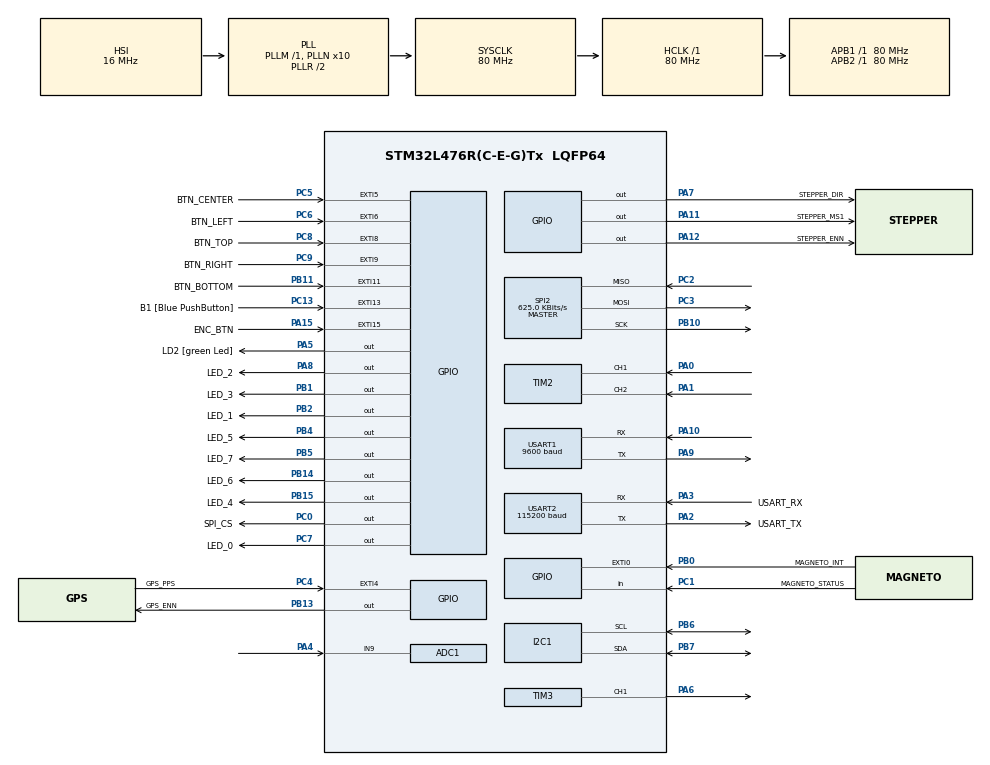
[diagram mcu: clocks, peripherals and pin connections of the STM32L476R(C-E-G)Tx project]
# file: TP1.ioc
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ADC1.Channel-2\#ChannelRegularConversion=ADC_CHANNEL_9
ADC1.ContinuousConvMode=DISABLE
ADC1.ExternalTrigConv=ADC_EXTERNALTRIG_T4_TRGO
ADC1.NbrOfConversionFlag=1
ADC1.OffsetNumber-2\#ChannelRegularConversion=ADC_OFFSET_NONE
ADC1.Rank-2\#ChannelRegularConversion=1
ADC1.SamplingTime-2\#ChannelRegularConversion=ADC_SAMPLETIME_2CYCLES_5
ADC1.master=1
I2C1.Timing=0x10909CEC
Mcu.Family=STM32L4
Mcu.Name=STM32L476R(C-E-G)Tx
Mcu.Package=LQFP64
NVIC.ADC1_2_IRQn=true\:0\:0\:false\:false\:true\:true\:true\:true
NVIC.EXTI15_10_IRQn=true\:0\:0\:false\:false\:true\:true\:true\:true
NVIC.PriorityGroup=NVIC_PRIORITYGROUP_4
NVIC.TIM4_IRQn=true\:0\:0\:false\:false\:true\:true\:true\:true
NVIC.TIM6_DAC_IRQn=true\:15\:0\:false\:false\:true\:false\:true\:true
NVIC.TimeBase=TIM6_DAC_IRQn
NVIC.TimeBaseIP=TIM6
PA0.Signal=S_TIM2_CH1
PA1.Signal=S_TIM2_CH2
PA10.Mode=Asynchronous
PA10.Signal=USART1_RX
PA11.GPIO_Label=STEPPER_MS1
PA11.Signal=GPIO_Output
PA12.GPIO_Label=STEPPER_ENN
PA12.PinState=GPIO_PIN_SET
PA12.Signal=GPIO_Output
PA13\ (JTMS-SWDIO).GPIO_Label=TMS
PA13\ (JTMS-SWDIO).Mode=Trace_Asynchronous_SW
PA13\ (JTMS-SWDIO).Signal=SYS_JTMS-SWDIO
PA14\ (JTCK-SWCLK).GPIO_Label=TCK
PA14\ (JTCK-SWCLK).Mode=Trace_Asynchronous_SW
PA14\ (JTCK-SWCLK).Signal=SYS_JTCK-SWCLK
PA15\ (JTDI).GPIO_Label=ENC_BTN
PA15\ (JTDI).Signal=GPXTI15
PA2.GPIO_Label=USART_TX
PA2.GPIO_Mode=GPIO_MODE_AF_PP
PA2.GPIO_PuPd=GPIO_NOPULL
PA2.GPIO_Speed=GPIO_SPEED_FREQ_VERY_HIGH
PA2.Mode=Asynchronous
PA2.Signal=USART2_TX
PA3.GPIO_Label=USART_RX
PA3.GPIO_Mode=GPIO_MODE_AF_PP
PA3.GPIO_PuPd=GPIO_NOPULL
PA3.GPIO_Speed=GPIO_SPEED_FREQ_VERY_HIGH
PA3.Mode=Asynchronous
PA3.Signal=USART2_RX
PA4.Signal=ADCx_IN9
PA5.GPIO_Label=LD2 [green Led]
PA5.GPIO_ModeDefaultOutputPP=GPIO_MODE_OUTPUT_PP
PA5.GPIO_PuPd=GPIO_NOPULL
PA5.GPIO_Speed=GPIO_SPEED_FREQ_LOW
PA5.Signal=GPIO_Output
PA6.Signal=S_TIM3_CH1
PA7.GPIO_Label=STEPPER_DIR
PA7.Signal=GPIO_Output
PA8.GPIO_Label=LED_2
PA8.Signal=GPIO_Output
PA9.Mode=Asynchronous
PA9.Signal=USART1_TX
PB0.GPIO_Label=MAGNETO_INT
PB0.Signal=GPXTI0
PB1.GPIO_Label=LED_3
PB1.Signal=GPIO_Output
PB10.Mode=Full_Duplex_Master
PB10.Signal=SPI2_SCK
PB11.GPIO_Label=BTN_BOTTOM
PB11.Signal=GPXTI11
PB13.GPIO_Label=GPS_ENN
PB13.Signal=GPIO_Output
PB14.GPIO_Label=LED_6
PB14.Signal=GPIO_Output
PB15.GPIO_Label=LED_4
PB15.Signal=GPIO_Output
PB2.GPIO_Label=LED_1
PB2.Signal=GPIO_Output
PB3\ (JTDO-TRACESWO).Mode=Trace_Asynchronous_SW
PB3\ (JTDO-TRACESWO).Signal=SYS_JTDO-SWO
PB4\ (NJTRST).GPIO_Label=LED_5
PB4\ (NJTRST).Signal=GPIO_Output
PB5.GPIO_Label=LED_7
PB5.Signal=GPIO_Output
PB6.Mode=I2C
PB6.Signal=I2C1_SCL
PB7.Mode=I2C
PB7.Signal=I2C1_SDA
PC0.GPIO_Label=SPI_CS
PC0.PinState=GPIO_PIN_SET
PC0.Signal=GPIO_Output
PC1.GPIO_Label=MAGNETO_STATUS
PC1.Signal=GPIO_Input
PC13.GPIO_Label=B1 [Blue PushButton]
PC13.GPIO_ModeDefaultEXTI=GPIO_MODE_IT_FALLING
PC13.GPIO_PuPd=GPIO_NOPULL
PC13.Signal=GPXTI13
PC14-OSC32_IN\ (PC14).Mode=LSE-External-Oscillator
PC14-OSC32_IN\ (PC14).Signal=RCC_OSC32_IN
PC15-OSC32_OUT\ (PC15).Mode=LSE-External-Oscillator
PC15-OSC32_OUT\ (PC15).Signal=RCC_OSC32_OUT
PC2.Mode=Full_Duplex_Master
PC2.Signal=SPI2_MISO
PC3.Mode=Full_Duplex_Master
PC3.Signal=SPI2_MOSI
PC4.GPIO_Label=GPS_PPS
PC4.Signal=GPXTI4
PC5.GPIO_Label=BTN_CENTER
PC5.Signal=GPXTI5
PC6.GPIO_Label=BTN_LEFT
PC6.Signal=GPXTI6
PC7.GPIO_Label=LED_0
PC7.Signal=GPIO_Output
PC8.GPIO_Label=BTN_TOP
PC8.Signal=GPXTI8
PC9.GPIO_Label=BTN_RIGHT
PC9.Signal=GPXTI9
PH0-OSC_IN\ (PH0).Mode=HSE-External-Oscillator
PH0-OSC_IN\ (PH0).Signal=RCC_OSC_IN
PH1-OSC_OUT\ (PH1).Mode=HSE-External-Oscillator
PH1-OSC_OUT\ (PH1).Signal=RCC_OSC_OUT
ProjectManager.HeapSize=0x200
ProjectManager.StackSize=0x400
ProjectManager.TargetToolchain=STM32CubeIDE
RCC.ADCFreq_Value=64000000
RCC.AHBFreq_Value=80000000
RCC.APB1Freq_Value=80000000
RCC.APB1TimFreq_Value=80000000
RCC.APB2Freq_Value=80000000
RCC.APB2TimFreq_Value=80000000
RCC.CortexFreq_Value=80000000
RCC.HCLKFreq_Value=80000000
RCC.HSE_VALUE=8000000
RCC.HSI_VALUE=16000000
RCC.MSI_VALUE=4000000
RCC.PLLN=10
RCC.PLLSourceVirtual=RCC_PLLSOURCE_HSI
RCC.PREFETCH_ENABLE=1
RCC.SYSCLKFreq_VALUE=80000000
RCC.SYSCLKSource=RCC_SYSCLKSOURCE_PLLCLK
RCC.USBFreq_Value=64000000
RCC.VCOOutputFreq_Value=160000000
SH.ADCx_IN9.0=ADC1_IN9,IN9-Single-Ended
SH.S_TIM2_CH1.0=TIM2_CH1,Encoder_Interface
SH.S_TIM2_CH2.0=TIM2_CH2,Encoder_Interface
SH.S_TIM3_CH1.0=TIM3_CH1,PWM Generation1 CH1
SPI2.BaudRatePrescaler=SPI_BAUDRATEPRESCALER_128
SPI2.CalculateBaudRate=625.0 KBits/s
SPI2.DataSize=SPI_DATASIZE_8BIT
SPI2.Direction=SPI_DIRECTION_2LINES
SPI2.Mode=SPI_MODE_MASTER
SPI2.NSSPMode=SPI_NSS_PULSE_DISABLE
SPI2.VirtualType=VM_MASTER
TIM3.Channel-PWM\ Generation1\ CH1=TIM_CHANNEL_1
TIM4.Period=9999
TIM4.Prescaler=79
TIM4.TIM_MasterOutputTrigger=TIM_TRGO_UPDATE
USART1.BaudRate=9600
USART1.VirtualMode-Asynchronous=VM_ASYNC
USART2.BaudRate=115200
USART2.VirtualMode-Asynchronous=VM_ASYNC
VP_SYS_VS_tim6.Mode=TIM6
VP_TIM3_VS_ClockSourceINT.Mode=Internal
VP_TIM4_VS_ClockSourceINT.Mode=Internal
board=NUCLEO-L476RG

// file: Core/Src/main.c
/* USER CODE BEGIN Header */
/**
  ******************************************************************************
  * @file           : main.c
  * @brief          : Main program body
  ******************************************************************************
  * @attention
  *
  * Copyright (c) 2024 STMicroelectronics.
  * All rights reserved.
  *
  * This software is licensed under terms that can be found in the LICENSE file
  * in the root directory of this software component.
  * If no LICENSE file comes with this software, it is provided AS-IS.
  *
  ******************************************************************************
  */
/* USER CODE END Header */
#include "main.h"
#include "adc.h"
#include "i2c.h"
#include "spi.h"
#include "tim.h"
#include "usart.h"
#include "gpio.h"
#include <stdio.h>

/* USER CODE BEGIN Includes */
#include "ssd1315.h"
#include "fonts.h"
#include "utils.h"
#include "fonction_67.h"

/* USER CODE END Includes */

void SystemClock_Config(void);

/* USER CODE BEGIN 0 */
int __io_putchar(int ch)

{

HAL_UART_Transmit(&huart2, (uint8_t *)&ch, 1, HAL_MAX_DELAY);

return ch;

}

int __io_getchar(void)

{

uint8_t ch = 0;

__HAL_UART_CLEAR_OREFLAG(&huart2);

HAL_UART_Receive(&huart2, (uint8_t *)&ch, 1, HAL_MAX_DELAY);

HAL_UART_Transmit(&huart2, (uint8_t *)&ch, 1, HAL_MAX_DELAY);

return ch;

}
/* USER CODE END 0 */

int main(void)
{

  /* MCU Configuration--------------------------------------------------------*/

  /* Reset of all peripherals, Initializes the Flash interface and the Systick. */
  HAL_Init();

  /* Configure the system clock */
  SystemClock_Config();

  /* Initialize all configured peripherals */
  MX_GPIO_Init();
  MX_USART2_UART_Init();
  MX_I2C1_Init();
  MX_SPI2_Init();
  MX_TIM2_Init();
  MX_TIM3_Init();
  MX_USART1_UART_Init();
  MX_ADC1_Init();
  MX_TIM4_Init();

  /* Infinite loop */
  /* USER CODE BEGIN WHILE */
  ssd1315_Init();
  ssd1315_Clear(SSD1315_COLOR_BLACK);
  char buffer[16]={0};
  snprintf(buffer,16,"karimleroi");

  ssd1315_Draw_String(0,0,buffer,&Font_11x18);
  ssd1315_Refresh();

  setup();
  //setup1();
  while (1)
  {
	  //loop();
	  //loop1();
    /* USER CODE END WHILE */

  }
}

void SystemClock_Config(void)
{
  RCC_OscInitTypeDef RCC_OscInitStruct = {0};
  RCC_ClkInitTypeDef RCC_ClkInitStruct = {0};

  /** Configure the main internal regulator output voltage
  */
  if (HAL_PWREx_ControlVoltageScaling(PWR_REGULATOR_VOLTAGE_SCALE1) != HAL_OK)
  {
    Error_Handler();
  }

  /** Initializes the RCC Oscillators according to the specified parameters
  * in the RCC_OscInitTypeDef structure.
  */
  RCC_OscInitStruct.OscillatorType = RCC_OSCILLATORTYPE_HSI;
  RCC_OscInitStruct.HSIState = RCC_HSI_ON;
  RCC_OscInitStruct.HSICalibrationValue = RCC_HSICALIBRATION_DEFAULT;
  RCC_OscInitStruct.PLL.PLLState = RCC_PLL_ON;
  RCC_OscInitStruct.PLL.PLLSource = RCC_PLLSOURCE_HSI;
  RCC_OscInitStruct.PLL.PLLM = 1;
  RCC_OscInitStruct.PLL.PLLN = 10;
  RCC_OscInitStruct.PLL.PLLP = RCC_PLLP_DIV7;
  RCC_OscInitStruct.PLL.PLLQ = RCC_PLLQ_DIV2;
  RCC_OscInitStruct.PLL.PLLR = RCC_PLLR_DIV2;
  if (HAL_RCC_OscConfig(&RCC_OscInitStruct) != HAL_OK)
  {
    Error_Handler();
  }

  /** Initializes the CPU, AHB and APB buses clocks
  */
  RCC_ClkInitStruct.ClockType = RCC_CLOCKTYPE_HCLK|RCC_CLOCKTYPE_SYSCLK
                              |RCC_CLOCKTYPE_PCLK1|RCC_CLOCKTYPE_PCLK2;
  RCC_ClkInitStruct.SYSCLKSource = RCC_SYSCLKSOURCE_PLLCLK;
  RCC_ClkInitStruct.AHBCLKDivider = RCC_SYSCLK_DIV1;
  RCC_ClkInitStruct.APB1CLKDivider = RCC_HCLK_DIV1;
  RCC_ClkInitStruct.APB2CLKDivider = RCC_HCLK_DIV1;

  if (HAL_RCC_ClockConfig(&RCC_ClkInitStruct, FLASH_LATENCY_4) != HAL_OK)
  {
    Error_Handler();
  }
}

void HAL_TIM_PeriodElapsedCallback(TIM_HandleTypeDef *htim)
{
  if (htim->Instance == TIM6) {
    HAL_IncTick();
  }
}

void Error_Handler(void)
{
  __disable_irq();
  while (1)
  {
  }
}
